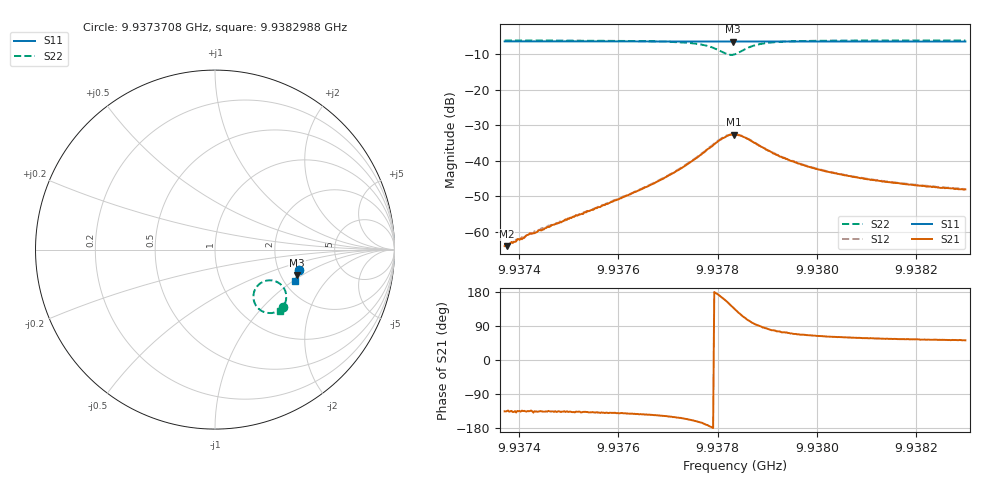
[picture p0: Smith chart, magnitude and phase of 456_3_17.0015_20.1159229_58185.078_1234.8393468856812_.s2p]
#  HZ  S  RI  R  50.00
! Rohde & Schwarz Vector Network Analyzer
! Rohde-Schwarz,ZNB20-2Port,1311601062101988,3.16
! Created: UTC 3/20/2024, 11:12:35 PM
! freq[Hz]  re:S11  im:S11  re:S21  im:S21  re:S12  im:S12  re:S22  im:S22
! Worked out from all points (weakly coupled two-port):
!   401 points, 9.9373708 GHz to 9.9382988 GHz, reference 50 ohm
!   highest |S21| = -32.56 dB at 9.9378325 GHz (marker M1); lowest = -64.0 dB at 9.9373755 GHz (marker M2)
!   lowest |S11| = -6.4 dB at 9.9378302 GHz (marker M3), VSWR 2.84, Z = 122 - j45 ohm
!   |S11| at or under -10 dB: nowhere
!   |S22| runs from -10.1 to -6.1 dB; largest |S21 - S12| = 0.00089
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9.93737083e9  0.47 -0.1132  -0.000453 -0.000445  -0.000469 -0.000447  0.3797 -0.3212
9.93737547e9  0.4697 -0.1134  -0.000442 -0.000449  -0.000484 -0.00047  0.3793 -0.3218
9.93740563e9  0.4691 -0.1155  -0.000545 -0.000573  -0.000616 -0.000573  0.3769 -0.324
9.93741955e9  0.4688 -0.1164  -0.000655 -0.000649  -0.000665 -0.000629  0.3758 -0.3251
9.93743115e9  0.4686 -0.1172  -0.000679 -0.000679  -0.000753 -0.000699  0.3745 -0.3259
9.93752626e9  0.4664 -0.1234  -0.00134 -0.0012  -0.00136 -0.00123  0.3645 -0.3339
9.93762602e9  0.4643 -0.1304  -0.00273 -0.00215  -0.00275 -0.00213  0.3474 -0.344
9.9376817e9  0.4626 -0.134  -0.00438 -0.00291  -0.00449 -0.00291  0.3304 -0.3507
9.93773274e9  0.4611 -0.1376  -0.00759 -0.0036  -0.00781 -0.00355  0.3018 -0.3539
9.93777682e9  0.4594 -0.1403  -0.0139 -0.00222  -0.014 -0.00207  0.2522 -0.3368
9.93779538e9  0.4584 -0.1413  -0.0177 0.000987  -0.0181 0.00127  0.2252 -0.3065
9.93781162e9  0.4576 -0.1416  -0.02 0.00666  -0.0203 0.00729  0.2142 -0.2579
9.93783018e9  0.457 -0.1418  -0.0177 0.0152  -0.0177 0.0161  0.2448 -0.194
9.9378325e9  0.4571 -0.1418  -0.017 0.0163  -0.0169 0.0169  0.2525 -0.188
9.93783482e9  0.4571 -0.1419  -0.0161 0.017  -0.016 0.0178  0.2604 -0.183
9.93785801e9  0.4577 -0.1427  -0.00636 0.0198  -0.00579 0.0202  0.34 -0.1777
9.93788585e9  0.4579 -0.1448  0.000266 0.0161  0.000801 0.0162  0.3857 -0.2184
9.93792761e9  0.4573 -0.1482  0.00325 0.011  0.00337 0.0111  0.3972 -0.264
9.93799025e9  0.4558 -0.1526  0.00346 0.00724  0.00356 0.00726  0.3912 -0.2967
9.93806681e9  0.4539 -0.1577  0.00313 0.00527  0.00327 0.00522  0.382 -0.3153
9.93814568e9  0.4516 -0.1631  0.00282 0.00416  0.0029 0.00414  0.3741 -0.3268
9.9382988e9  0.4476 -0.1728  0.00245 0.00313  0.00253 0.00311  0.3616 -0.3414
